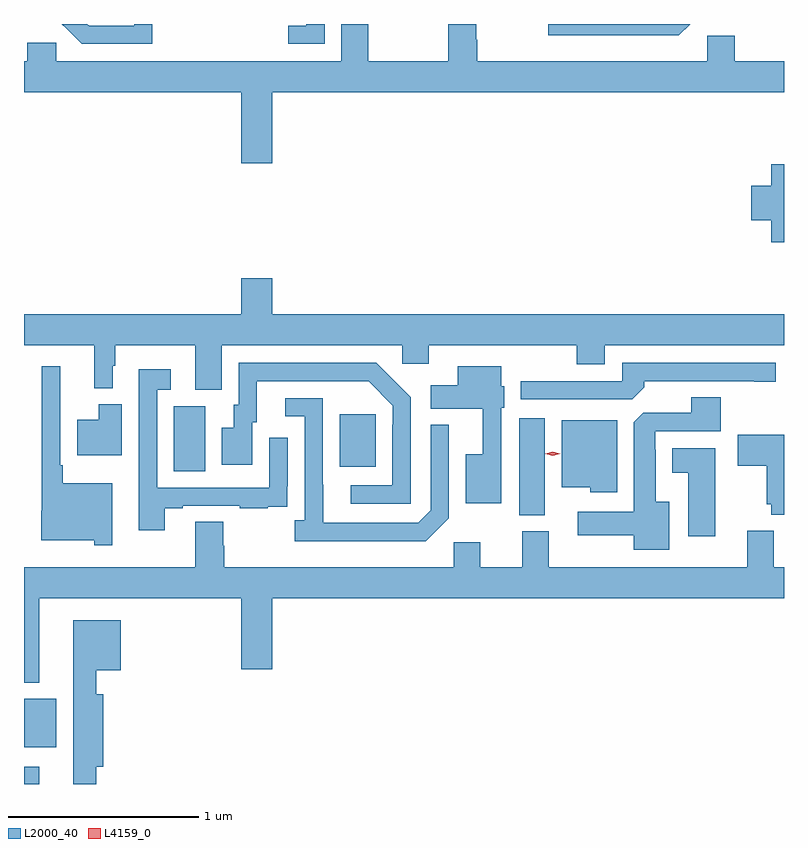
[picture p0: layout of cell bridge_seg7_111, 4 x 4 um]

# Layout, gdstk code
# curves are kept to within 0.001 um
import gdstk
lib = gdstk.Library(unit=1e-6, precision=1e-09)
def R(c, l, rs):  # rectangles x0, y0, x1, y1
    for r in rs: c.add(gdstk.rectangle(r[:2], r[2:], *l))
def P(c, l, *ps):  # polygons
    for p in ps: c.add(gdstk.Polygon(p, *l))
L2000_40 = (2000, 40)
L4159_0 = (4159, 0)

bridge_seg7_111 = lib.new_cell('bridge_seg7_111')
R(bridge_seg7_111, L2000_40, [(1038.989,1014.291,1039.069,1014.382), (1038.989,1014.485,1039.159,1014.739), (1041.596,1015.705,1041.73,1016.215), (1039.778,1015.936,1039.942,1016.28), (1040.651,1015.961,1040.839,1016.236), (1040.925,1018.29,1041.061,1018.291), (1042.923,1018.29,1042.989,1018.291)])
P(bridge_seg7_111, L2000_40, [(1040.571,1018.291),(1040.475,1018.291),(1040.475,1018.283),(1040.38,1018.283),(1040.38,1018.188),(1040.571,1018.188)],
  [(1042.495,1018.291),(1041.747,1018.291),(1041.747,1018.232),(1042.436,1018.232)],
  [(1039.158,1018.192),(1039.007,1018.192),(1039.007,1018.096),(1038.989,1018.096),(1038.989,1017.932),(1040.132,1017.932),(1040.132,1017.558),(1040.296,1017.558),(1040.296,1017.932),(1042.989,1017.932),(1042.989,1018.096),(1042.731,1018.096),(1042.731,1018.228),(1042.584,1018.228),(1042.584,1018.096),(1041.374,1018.096),(1041.374,1018.209),(1041.369,1018.209),(1041.369,1018.291),(1041.221,1018.291),(1041.221,1018.096),(1040.8,1018.096),(1040.8,1018.291),(1040.66,1018.291),(1040.66,1018.096),(1039.158,1018.096)],
  [(1039.665,1018.291),(1039.569,1018.291),(1039.569,1018.281),(1039.332,1018.281),(1039.322,1018.291),(1039.188,1018.291),(1039.208,1018.271),(1039.292,1018.188),(1039.665,1018.188)],
  [(1042.989,1017.553),(1042.922,1017.553),(1042.922,1017.44),(1042.817,1017.44),(1042.817,1017.257),(1042.922,1017.257),(1042.922,1017.143),(1042.989,1017.143)],
  [(1040.029,1016.6),(1040.979,1016.6),(1040.979,1016.502),(1041.118,1016.502),(1041.118,1016.6),(1041.898,1016.6),(1041.898,1016.501),(1042.045,1016.501),(1042.045,1016.6),(1042.989,1016.6),(1042.989,1016.764),(1040.296,1016.764),(1040.296,1016.953),(1040.132,1016.953),(1040.132,1016.764),(1038.989,1016.764),(1038.989,1016.6),(1039.358,1016.6),(1039.358,1016.375),(1039.456,1016.375),(1039.456,1016.493),(1039.468,1016.493),(1039.468,1016.6),(1039.889,1016.6),(1039.889,1016.365),(1040.029,1016.365)],
  [(1041.024,1016.326),(1040.842,1016.508),(1040.118,1016.508),(1040.118,1016.286),(1040.093,1016.286),(1040.093,1016.167),(1040.03,1016.167),(1040.03,1015.971),(1040.191,1015.971),(1040.191,1016.196),(1040.215,1016.196),(1040.215,1016.412),(1040.803,1016.412),(1040.931,1016.283),(1040.931,1016.183),(1040.928,1016.183),(1040.928,1015.863),(1040.709,1015.863),(1040.709,1015.767),(1041.024,1015.767)],
  [(1042.253,1016.378),(1042.253,1016.412),(1042.832,1016.412),(1042.832,1016.407),(1042.945,1016.407),(1042.945,1016.508),(1042.137,1016.508),(1042.137,1016.412),(1041.603,1016.412),(1041.603,1016.316),(1042.191,1016.316)],
  [(1041.501,1016.271),(1041.517,1016.271),(1041.517,1016.385),(1041.502,1016.385),(1041.502,1016.491),(1041.272,1016.491),(1041.272,1016.389),(1041.129,1016.389),(1041.129,1016.267),(1041.404,1016.267),(1041.404,1016.026),(1041.314,1016.026),(1041.314,1015.769),(1041.501,1015.769)],
  [(1039.453,1015.873),(1039.192,1015.873),(1039.192,1015.969),(1039.179,1015.969),(1039.179,1016.491),(1039.082,1016.491),(1039.082,1015.728),(1039.079,1015.728),(1039.079,1015.574),(1039.359,1015.574),(1039.359,1015.547),(1039.453,1015.547)],
  [(1039.729,1015.743),(1039.825,1015.743),(1039.825,1015.755),(1040.125,1015.755),(1040.125,1015.743),(1040.273,1015.743),(1040.273,1015.749),(1040.375,1015.749),(1040.375,1015.858),(1040.376,1015.858),(1040.376,1016.113),(1040.28,1016.113),(1040.28,1015.851),(1039.689,1015.851),(1039.689,1016.367),(1039.762,1016.367),(1039.762,1016.473),(1039.593,1016.473),(1039.593,1015.848),(1039.592,1015.848),(1039.592,1015.626),(1039.729,1015.626)],
  [(1042.384,1015.777),(1042.315,1015.777),(1042.315,1016.051),(1042.311,1016.051),(1042.311,1016.148),(1042.655,1016.148),(1042.655,1016.327),(1042.502,1016.327),(1042.502,1016.244),(1042.248,1016.244),(1042.199,1016.195),(1042.199,1015.723),(1041.903,1015.723),(1041.903,1015.601),(1042.199,1015.601),(1042.199,1015.523),(1042.384,1015.523)],
  [(1041.225,1015.689),(1041.225,1016.182),(1041.129,1016.182),(1041.129,1015.731),(1041.063,1015.665),(1040.563,1015.665),(1040.562,1016.322),(1040.364,1016.322),(1040.364,1016.226),(1040.466,1016.226),(1040.466,1015.678),(1040.415,1015.678),(1040.415,1015.568),(1041.104,1015.568)],
  [(1039.504,1016.29),(1039.382,1016.29),(1039.382,1016.209),(1039.268,1016.209),(1039.268,1016.021),(1039.504,1016.021)],
  [(1042.111,1016.206),(1041.818,1016.206),(1041.818,1015.853),(1041.969,1015.853),(1041.969,1015.826),(1042.111,1015.826)],
  [(1042.989,1016.128),(1042.746,1016.128),(1042.746,1015.966),(1042.898,1015.966),(1042.898,1015.763),(1042.921,1015.763),(1042.921,1015.709),(1042.989,1015.709)],
  [(1042.627,1016.059),(1042.4,1016.059),(1042.4,1015.928),(1042.484,1015.928),(1042.484,1015.596),(1042.627,1015.596)],
  [(1039.069,1015.268),(1040.132,1015.268),(1040.132,1014.894),(1040.296,1014.894),(1040.296,1015.268),(1042.989,1015.268),(1042.989,1015.432),(1042.936,1015.432),(1042.936,1015.624),(1042.796,1015.624),(1042.796,1015.432),(1041.751,1015.432),(1041.751,1015.62),(1041.611,1015.62),(1041.611,1015.432),(1041.391,1015.432),(1041.391,1015.564),(1041.252,1015.564),(1041.252,1015.432),(1040.042,1015.432),(1040.042,1015.545),(1040.037,1015.545),(1040.037,1015.67),(1039.889,1015.67),(1039.889,1015.432),(1038.989,1015.432),(1038.989,1014.824),(1039.069,1014.824)],
  [(1039.369,1014.383),(1039.406,1014.383),(1039.406,1014.763),(1039.369,1014.763),(1039.369,1014.89),(1039.498,1014.89),(1039.498,1015.153),(1039.247,1015.153),(1039.247,1014.291),(1039.369,1014.291)])
P(bridge_seg7_111, L4159_0, [(1041.772,1016.019),(1041.732,1016.029),(1041.732,1016.029),(1041.732,1016.029),(1041.772,1016.039),(1041.812,1016.03),(1041.812,1016.03),(1041.812,1016.029)])

lib.write_gds('bridge_seg7_111.gds')
